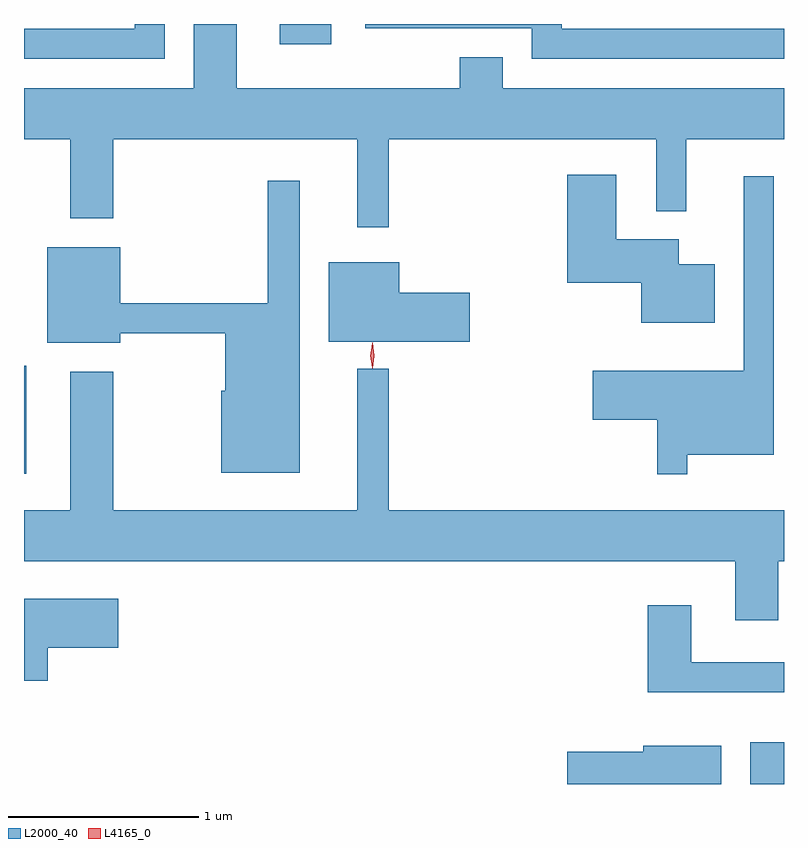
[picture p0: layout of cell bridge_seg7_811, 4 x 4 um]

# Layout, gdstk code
import gdstk
lib = gdstk.Library(unit=1e-6, precision=1e-09)
def R(c, l, rs):  # rectangles x0, y0, x1, y1
    for r in rs: c.add(gdstk.rectangle(r[:2], r[2:], *l))
def P(c, l, *ps):  # polygons
    for p in ps: c.add(gdstk.Polygon(p, *l))
L2000_40 = (2000, 40)
L4165_0 = (4165, 0)

bridge_seg7_811 = lib.new_cell('bridge_seg7_811')
R(bridge_seg7_811, L2000_40, [(280.611,1744.223,280.788,1744.444), (276.788,1745.856,276.799,1746.424), (278.133,1748.116,278.404,1748.223)])
P(bridge_seg7_811, L2000_40, [(278.709,1747.616),(280.116,1747.616),(280.116,1747.238),(280.274,1747.238),(280.274,1747.616),(280.788,1747.616),(280.788,1747.884),(279.309,1747.884),(279.309,1748.049),(279.081,1748.049),(279.081,1747.884),(277.909,1747.884),(277.909,1748.223),(277.681,1748.223),(277.681,1747.884),(276.788,1747.884),(276.788,1747.616),(277.031,1747.616),(277.031,1747.201),(277.259,1747.201),(277.259,1747.616),(278.541,1747.616),(278.541,1747.153),(278.709,1747.153)],
  [(277.529,1748.223),(277.371,1748.223),(277.371,1748.199),(276.788,1748.199),(276.788,1748.041),(277.529,1748.041)],
  [(280.788,1748.199),(279.619,1748.199),(279.619,1748.223),(278.583,1748.223),(278.583,1748.201),(279.461,1748.201),(279.461,1748.041),(280.788,1748.041)],
  [(280.424,1746.959),(280.234,1746.959),(280.234,1747.089),(279.904,1747.089),(279.904,1747.429),(279.646,1747.429),(279.646,1746.861),(280.036,1746.861),(280.036,1746.651),(280.424,1746.651)],
  [(280.279,1745.956),(280.734,1745.956),(280.734,1747.423),(280.576,1747.423),(280.576,1746.399),(279.781,1746.399),(279.781,1746.141),(280.121,1746.141),(280.121,1745.853),(280.279,1745.853)],
  [(278.239,1747.398),(278.071,1747.398),(278.071,1746.754),(277.294,1746.754),(277.294,1747.049),(276.911,1747.049),(276.911,1746.546),(277.294,1746.546),(277.294,1746.596),(277.846,1746.596),(277.846,1746.294),(277.826,1746.294),(277.826,1745.861),(278.239,1745.861)],
  [(279.134,1746.809),(278.764,1746.809),(278.764,1746.969),(278.391,1746.969),(278.391,1746.551),(279.134,1746.551)],
  [(280.759,1745.396),(280.788,1745.396),(280.788,1745.664),(278.709,1745.664),(278.709,1746.408),(278.541,1746.408),(278.541,1745.664),(277.259,1745.664),(277.259,1746.394),(277.031,1746.394),(277.031,1745.664),(276.788,1745.664),(276.788,1745.396),(280.531,1745.396),(280.531,1745.086),(280.759,1745.086)],
  [(276.914,1744.941),(277.284,1744.941),(277.284,1745.199),(276.788,1745.199),(276.788,1744.766),(276.914,1744.766)],
  [(280.788,1744.864),(280.299,1744.864),(280.299,1745.164),(280.071,1745.164),(280.071,1744.706),(280.788,1744.706)],
  [(280.459,1744.424),(280.046,1744.424),(280.046,1744.394),(279.646,1744.394),(279.646,1744.223),(280.459,1744.223)])
P(bridge_seg7_811, L4165_0, [(278.622,1746.41),(278.613,1746.478),(278.622,1746.545),(278.622,1746.546),(278.623,1746.545),(278.632,1746.478),(278.623,1746.41),(278.623,1746.41)],
  [(278.621,1746.413),(278.62,1746.414),(278.61,1746.476),(278.62,1746.54),(278.62,1746.54),(278.621,1746.54),(278.63,1746.476),(278.621,1746.414)])

lib.write_gds('bridge_seg7_811.gds')
